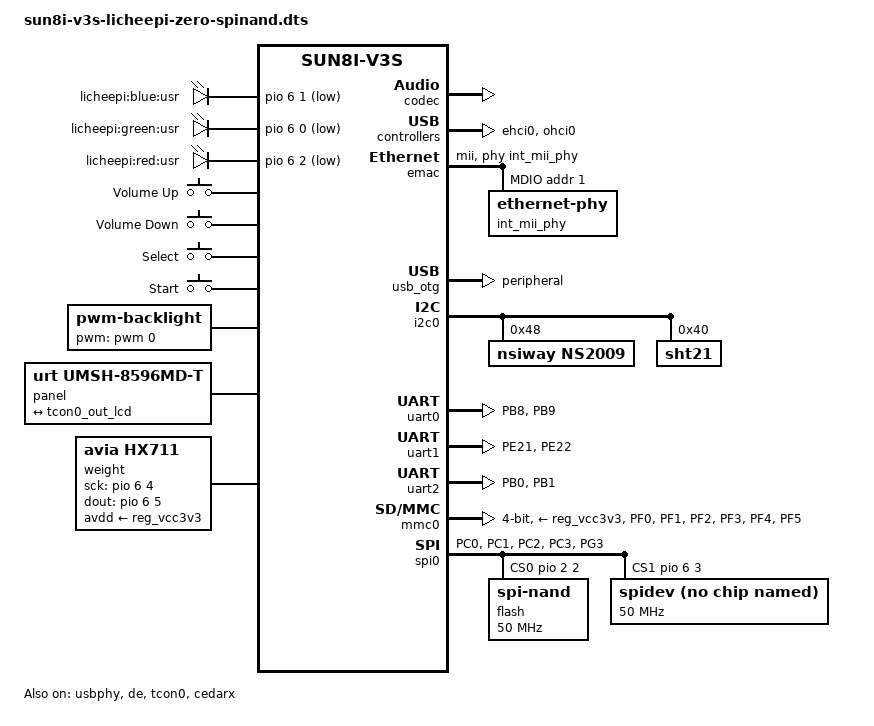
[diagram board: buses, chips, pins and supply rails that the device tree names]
/*
 * Copyright (C) 2019 Benedikt-Alexander Mokroß <bam@icognize.de>
 *
 * This file is dual-licensed: you can use it either under the terms
 * of the GPL or the X11 license, at your option. Note that this dual
 * licensing only applies to this file, and not this project as a
 * whole.
 *
 *  a) This file is free software; you can redistribute it and/or
 *     modify it under the terms of the GNU General Public License as
 *     published by the Free Software Foundation; either version 2 of the
 *     License, or (at your option) any later version.
 *
 *     This file is distributed in the hope that it will be useful,
 *     but WITHOUT ANY WARRANTY; without even the implied warranty of
 *     MERCHANTABILITY or FITNESS FOR A PARTICULAR PURPOSE.  See the
 *     GNU General Public License for more details.
 *
 * Or, alternatively,
 *
 *  b) Permission is hereby granted, free of charge, to any person
 *     obtaining a copy of this software and associated documentation
 *     files (the "Software"), to deal in the Software without
 *     restriction, including without limitation the rights to use,
 *     copy, modify, merge, publish, distribute, sublicense, and/or
 *     sell copies of the Software, and to permit persons to whom the
 *     Software is furnished to do so, subject to the following
 *     conditions:
 *
 *     The above copyright notice and this permission notice shall be
 *     included in all copies or substantial portions of the Software.
 *
 *     THE SOFTWARE IS PROVIDED "AS IS", WITHOUT WARRANTY OF ANY KIND,
 *     EXPRESS OR IMPLIED, INCLUDING BUT NOT LIMITED TO THE WARRANTIES
 *     OF MERCHANTABILITY, FITNESS FOR A PARTICULAR PURPOSE AND
 *     NONINFRINGEMENT. IN NO EVENT SHALL THE AUTHORS OR COPYRIGHT
 *     HOLDERS BE LIABLE FOR ANY CLAIM, DAMAGES OR OTHER LIABILITY,
 *     WHETHER IN AN ACTION OF CONTRACT, TORT OR OTHERWISE, ARISING
 *     FROM, OUT OF OR IN CONNECTION WITH THE SOFTWARE OR THE USE OR
 *     OTHER DEALINGS IN THE SOFTWARE.
 */

/dts-v1/;
#include <dt-bindings/interrupt-controller/arm-gic.h>
#include <dt-bindings/clock/sun8i-v3s-ccu.h>
#include <dt-bindings/reset/sun8i-v3s-ccu.h>
#include <dt-bindings/input/input.h>
#include "sun8i-v3s-licheepi-zero.dts"

/ {
	aliases {
		serial0 = &uart0;
		ethernet0 = &emac;
		spi0 = &spi0;
	};

	chosen {
		stdout-path = "serial0:115200n8";

		simplefb_lcd: framebuffer@0 {
			compatible = "allwinner,simple-framebuffer",
				     "simple-framebuffer";
			allwinner,pipeline = "de0-lcd0";
			clocks = <&ccu CLK_BUS_TCON0>, <&display_clocks 0>,
				 <&display_clocks 6>, <&ccu CLK_TCON0>;
			status = "disabled";
		};
	};

	leds {
		compatible = "gpio-leds";

		blue_led {
			label = "licheepi:blue:usr";
			gpios = <&pio 6 1 GPIO_ACTIVE_LOW>; // PG1
		};

		green_led {
			label = "licheepi:green:usr";
			gpios = <&pio 6 0 GPIO_ACTIVE_LOW>; // PG0
			default-state = "on";
		};

		red_led {
			label = "licheepi:red:usr";
			gpios = <&pio 6 2 GPIO_ACTIVE_LOW>; // PG2
		};
	};

	soc {

		syscon: syscon@1c00000 {
			compatible = "allwinner,sun8i-v3s-system-controller", "allwinner,sun8i-h3-system-control", "syscon";
			reg = <0x01c00000 0xd0>;
			#address-cells = <1>;
			#size-cells = <1>;
			ranges;

			sram_c: sram@1d00000 {
				compatible = "mmio-sram";
				reg = <0x01d00000 0x80000>;
				#address-cells = <1>;
				#size-cells = <1>;
				ranges = <0 0x01d00000 0x80000>;

				ve_sram: sram-section@0 {
					compatible = "allwinner,sun8i-v3s-sram-c", "allwinner,sun4i-a10-sram-c1";
					reg = <0x000000 0x80000>;
				};
			};
		};

		dma: dma-controller@01c02000 {
			compatible = "allwinner,sun8i-v3s-dma";
			reg = <0x01c02000 0x1000>;
			interrupts = <GIC_SPI 50 IRQ_TYPE_LEVEL_HIGH>;
			clocks = <&ccu CLK_BUS_DMA>;
			resets = <&ccu RST_BUS_DMA>;
			#dma-cells = <1>;
		};

		tcon0: lcd-controller@1c0c000 {
			compatible = "allwinner,sun8i-v3s-tcon";
			reg = <0x01c0c000 0x1000>;
			interrupts = <GIC_SPI 86 IRQ_TYPE_LEVEL_HIGH>;
			clocks = <&ccu CLK_BUS_TCON0>,
				 <&ccu CLK_TCON0>;
			clock-names = "ahb",
				      "tcon-ch0";
			clock-output-names = "tcon-pixel-clock";
			#clock-cells = <0>;
			resets = <&ccu RST_BUS_TCON0>;
			reset-names = "lcd";
			status = "disabled";

			ports {
				#address-cells = <1>;
				#size-cells = <0>;

				tcon0_in: port@0 {
					reg = <0>;

					tcon0_in_mixer0: endpoint {
						remote-endpoint = <&mixer0_out_tcon0>;
					};
				};

				tcon0_out: port@1 {
					#address-cells = <1>;
					#size-cells = <0>;
					reg = <1>;
				};
			};
		};

		lradc: lradc@1c22800 {
			compatible = "allwinner,sun4i-a10-lradc-keys";
			reg = <0x01c22800 0x400>;
			interrupts = <GIC_SPI 30 IRQ_TYPE_LEVEL_HIGH>;
			status = "disabled";
		};

		codec: codec@01c22c00 {
			#sound-dai-cells = <0>;
			compatible = "allwinner,sun8i-v3s-codec";
			reg = <0x01c22c00 0x400>;
			interrupts = <GIC_SPI 29 IRQ_TYPE_LEVEL_HIGH>;
			clocks = <&ccu CLK_BUS_CODEC>, <&ccu CLK_AC_DIG>;
			clock-names = "apb", "codec";
			resets = <&ccu RST_BUS_CODEC>;
			dmas = <&dma 15>, <&dma 15>;
			dma-names = "rx", "tx";
			allwinner,codec-analog-controls = <&codec_analog>;
			status = "disabled";
		};

		codec_analog: codec-analog@01c23000 {
			compatible = "allwinner,sun8i-v3s-codec-analog";
			reg = <0x01c23000 0x4>;
		};

		cedarx: video-codec@1c0e000 {
			compatible = "allwinner,sun8i-v3-cedar";
			reg = <0x01c0e000 0x1000>;
			clocks = <&ccu CLK_BUS_VE>, <&ccu CLK_VE>, <&ccu CLK_DRAM_VE>;
			clock-names = "ahb", "mod", "ram";
			resets = <&ccu RST_BUS_VE>;
			interrupts = <GIC_SPI 58 IRQ_TYPE_LEVEL_HIGH>;
			allwinner,sram = <&ve_sram 1>;
			status = "disabled";
		};
				
		ion: ion {
			compatible = "allwinner,sunxi-ion";
			status = "disabled";
			heap_cma@0{
				compatible = "allwinner,cma";
				heap-name  = "cma";
				heap-id    = <0x4>;
				heap-base  = <0x0>;
				heap-size  = <0x0>;
				heap-type  = "ion_cma";
			};
		};

		ehci0: usb@01c1a000 {
			compatible = "allwinner,sun8i-v3s-ehci", "generic-ehci";
			reg = <0x01c1a000 0x100>;
			interrupts = <GIC_SPI 72 IRQ_TYPE_LEVEL_HIGH>;
			clocks = <&ccu CLK_BUS_EHCI0>, <&ccu CLK_BUS_OHCI0>;
			resets = <&ccu RST_BUS_EHCI0>, <&ccu RST_BUS_OHCI0>;
			status = "disabled";
		};

		ohci0: usb@01c1a400 {
			compatible = "allwinner,sun8i-v3s-ohci", "generic-ohci";
			reg = <0x01c1a400 0x100>;
			interrupts = <GIC_SPI 73 IRQ_TYPE_LEVEL_HIGH>;
			clocks = <&ccu CLK_BUS_EHCI0>, <&ccu CLK_BUS_OHCI0>,
				 <&ccu CLK_USB_OHCI0>;
			resets = <&ccu RST_BUS_EHCI0>, <&ccu RST_BUS_OHCI0>;
			status = "disabled";
		};

		emac: ethernet@1c30000 {
			compatible = "allwinner,sun8i-v3s-emac";
			syscon = <&syscon>;
			reg = <0x01c30000 0x104>;
			interrupts = <GIC_SPI 82 IRQ_TYPE_LEVEL_HIGH>;
			interrupt-names = "macirq";
			resets = <&ccu RST_BUS_EMAC>;
			reset-names = "stmmaceth";
			clocks = <&ccu CLK_BUS_EMAC>;
			clock-names = "stmmaceth";
			#address-cells = <1>;
			#size-cells = <0>;
			phy-handle = <&int_mii_phy>;
			phy-mode = "mii";
			status = "okay";
			allwinner,leds-active-low;

			mdio: mdio {
				#address-cells = <1>;
				#size-cells = <0>;
				compatible = "snps,dwmac-mdio";
			};

			mdio-mux {
				compatible = "mdio-mux", "allwinner,sun8i-h3-mdio-mux";
				#address-cells = <1>;
				#size-cells = <0>;

				mdio-parent-bus = <&mdio>;

				int_mdio: mdio@1 {
					compatible = "allwinner,sun8i-h3-mdio-internal";
					reg = <1>;
					#address-cells = <1>;
					#size-cells = <0>;

					int_mii_phy: ethernet-phy@1 {
						reg = <1>;
						clocks = <&ccu CLK_BUS_EPHY>;
						resets = <&ccu RST_BUS_EPHY>;
						phy-is-integrated;
					};
				};
			};
		};

		pwm: pwm@1c21400 {
			compatible = "allwinner,sun8i-v3s-pwm",
				     "allwinner,sun7i-a20-pwm";
			reg = <0x01c21400 0x400>;
			clocks = <&osc24M>;
			#pwm-cells = <3>;
			status = "disabled";
		};
	};

	backlight: backlight {
		compatible = "pwm-backlight";
		pwms = <&pwm 0 1000000 0>;
		brightness-levels = <0 30 40 50 60 70 100>;
		default-brightness-level = <6>;
	};

	panel: panel {
		#address-cells = <1>;
		#size-cells = <0>;
		compatible = "urt,umsh-8596md-t", "simple-panel";

		port@0 {
			reg = <0>;
			backlight = <&backlight>;
			#address-cells = <1>;
			#size-cells = <0>;

			panel_input: endpoint@0 {
				reg = <0>;
				remote-endpoint = <&tcon0_out_lcd>;
			};
		};
	};

	weight {
        compatible = "avia,hx711";
		//pinctrl-names = "default";
		//pinctrl-0 = <&hx711_pins>;
        sck-gpios = <&pio 6 4 GPIO_ACTIVE_HIGH>;
        dout-gpios = <&pio 6 5 GPIO_ACTIVE_HIGH>;
        avdd-supply = <&reg_vcc3v3>;
        clock-frequency = <400000>;
        status = "okay";
    };
};

&pio {

	spi0_pins: spi0-pins {
		pins = "PC0", "PC1", "PC2", "PC3";
		function = "spi0";
	};

	spi0_pins_cs1: spi0_pins_cs1 {
		pins = "PC2", "PG3";
		function = "gpio_out";
	};

	hx711_pins: hx711_pins {
		pins = "PG4", "PG5";
		function = "gpio_out";
	};

	twi1_clk: i2c1 {
		pins = "PB8";
		function = "i2c1";
	};

	/* Parallel CSI related */
	csi1_8bit: csi1-8bit@0 {
		pins = "PE6","PE7","PE8","PE9","PE10","PE11","PE12","PE13","PE14","PE15";
		bias-disable;
		function = "csi";
	};

	csi1_clk: csi1-clk@0 {
		pins = "PE0","PE2","PE3";
		bias-disable;
		function = "csi";
	};

	csi1_mclk: csi1-mclk@0 {
		pins = "PE1";
		bias-disable;
		function = "csi";
	};

	uart0_pins: uart0@0 {
		pins = "PB8", "PB9";
		function = "uart0";
	};

	uart1_pins: uart1@0 {
		pins = "PE21", "PE22";
		function = "uart1";
		bias-pull-up;
	};

	uart2_pins: uart2@0 {
		pins = "PB0", "PB1";
		function = "uart2";
		bias-pull-up;
	};

	pwm0_pins: pwm0 {
		pins = "PB4";
		function = "pwm0";
	};

	lcd_rgb666_pins_a: lcd-rgb666-pe {
		pins = "PE0", "PE1", "PE2", "PE3", "PE4", "PE5",
				"PE6", "PE7", "PE8", "PE9", "PE10", "PE11",
				"PE12", "PE13", "PE14", "PE15", "PE16", "PE17",
				"PE18", "PE19", "PE23", "PE24";
		function = "lcd";
	};

	mmc0_pins_a: mmc0@0 {
		pins = "PF0", "PF1", "PF2", "PF3",
				"PF4", "PF5";
		function = "mmc0";
		drive-strength = <30>;
		bias-pull-up;
	};

};

&ohci0 {
	status = "okay";
};

&ehci0 {
	status = "okay";
};

&usb_otg {
	//dr_mode = "otg";
	dr_mode = "peripheral"; /* host peripheral */
	status = "okay";
};

&usbphy {
	usb0_id_det-gpios = <&pio 5 6 GPIO_ACTIVE_HIGH>;
	status = "okay";
};

&emac {
	phy-handle = <&int_mii_phy>;
	phy-mode = "mii";
	allwinner,leds-active-low;
	status = "okay";
};

&de {
	status = "okay";
};

&codec {
	allwinner,audio-routing =
		"Headphone", "HP",
		"Headphone", "HPCOM",
		"MIC1", "Mic",
		"Mic",  "HBIAS";
	status = "okay";
};

&cedarx {
	status = "okay";
};

&ion {
	status = "okay";
};

&i2c0 {
	status = "okay";

	ns2009: ns2009@48 {
			compatible = "nsiway,ns2009";
			reg = <0x48>;
	};

	sht21: sht21@40 {
			compatible = "sht21";
			reg = <0x40>;
	};
};

&uart0 {
	pinctrl-0 = <&uart0_pins>;
	pinctrl-names = "default";
	status = "okay";
};

&uart1 {
	pinctrl-0 = <&uart1_pins>;
	pinctrl-names = "default";
	status = "okay";
};

&uart2 {
	pinctrl-0 = <&uart2_pins>;
	pinctrl-names = "default";
	status = "okay";
};

&mmc0 {
	pinctrl-0 = <&mmc0_pins_a>;
	pinctrl-names = "default";
	broken-cd;
	bus-width = <4>;
	vmmc-supply = <&reg_vcc3v3>;
	status = "okay";
};

/*
&mmc1 { // WiFi ESP8089 
	pinctrl-0 = <&mmc1_pins_a>;
	pinctrl-names = "default";
	status = "okay";
	bus-width = <4>;
	non-removable;
	mmc-pwrseq = <&wifi_pwrseq>;
	// vmmc-supply = <&reg_dldo1>;

	esp8089: sdio_wifi@1 {
		compatible = "esp,esp8089";
		reg = <1>;
		esp,crystal-26M-en = <2>;
	};
};
*/

&spi0 {
	#address-cells = <1>;
	#size-cells = <0>;
	pinctrl-names = "default";
	pinctrl-0 = <&spi0_pins &spi0_pins_cs1>;
	spi-num-chipselects = <2>;
	cs-gpios = <&pio 2 2 GPIO_ACTIVE_HIGH>, <&pio 6 3 GPIO_ACTIVE_HIGH>;
	status = "okay";

	flash: spinand@0 {
		#address-cells = <1>;
		#size-cells = <1>;
		reg = <0>;
		compatible = "spi-nand";
		spi-max-frequency = <50000000>;
		status = "okay";

		boot@0 {
			label = "boot";
			reg = <0x0000000 0x0100000>;
		};

		ubi0@100000 {
			label = "ubi0";
			reg = <0x0100000 0x0000000>;
		};
	};

	spidev: spidev@1 {
		reg = <1>;
		compatible = "rohm,dh2228fv";
		spi-max-frequency = <50000000>;
		status = "okay";
	};
};

&tcon0 {
	pinctrl-names = "default";
	pinctrl-0 = <&lcd_rgb666_pins_a>;
	status = "okay";
};

&tcon0_out {
	tcon0_out_lcd: endpoint@0 {
		reg = <0>;
		remote-endpoint = <&panel_input>;
	};
};

&lradc {
	vref-supply = <&reg_vcc3v0>;
	status = "okay";

	button-200 {
		label = "Volume Up";
		linux,code = <KEY_VOLUMEUP>;
		channel = <0>;
		voltage = <200000>;
	};

	button-400 {
		label = "Volume Down";
		linux,code = <KEY_VOLUMEDOWN>;
		channel = <0>;
		voltage = <400000>;
	};

	button-600 {
		label = "Select";
		linux,code = <KEY_SELECT>;
		channel = <0>;
		voltage = <600000>;
	};

	button-800 {
		label = "Start";
		linux,code = <KEY_OK>;
		channel = <0>;
		voltage = <800000>;
	};
};
